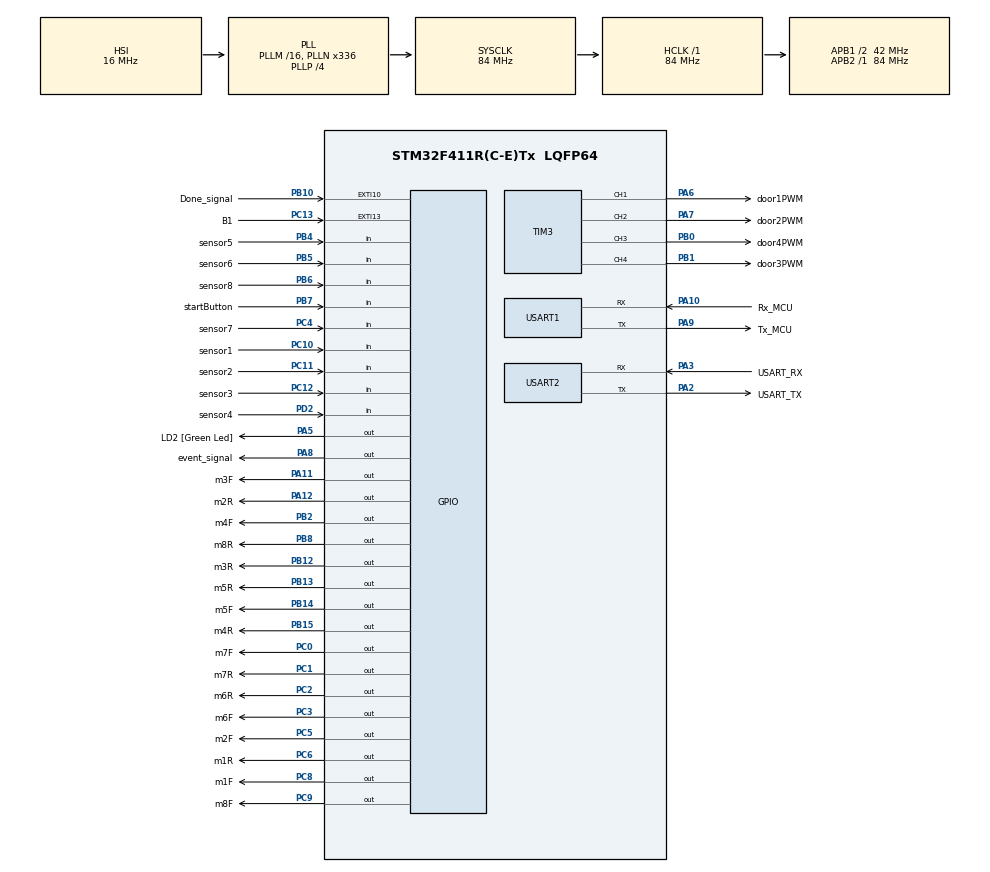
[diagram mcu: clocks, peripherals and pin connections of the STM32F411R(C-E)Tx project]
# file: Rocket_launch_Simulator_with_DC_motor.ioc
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Mcu.Family=STM32F4
Mcu.Name=STM32F411R(C-E)Tx
Mcu.Package=LQFP64
NVIC.EXTI15_10_IRQn=true\:0\:0\:false\:false\:true\:true\:true\:true
NVIC.PriorityGroup=NVIC_PRIORITYGROUP_0
NVIC.USART1_IRQn=true\:0\:0\:false\:false\:true\:true\:true\:true
NVIC.USART2_IRQn=true\:0\:0\:false\:false\:true\:true\:true\:true
PA10.GPIO_Label=Rx_MCU
PA10.Mode=Asynchronous
PA10.Signal=USART1_RX
PA11.GPIO_Label=m3F
PA11.Signal=GPIO_Output
PA12.GPIO_Label=m2R
PA12.Signal=GPIO_Output
PA13.GPIO_Label=TMS
PA13.Mode=Serial_Wire
PA13.Signal=SYS_JTMS-SWDIO
PA14.GPIO_Label=TCK
PA14.Mode=Serial_Wire
PA14.Signal=SYS_JTCK-SWCLK
PA2.GPIO_Label=USART_TX
PA2.Mode=Asynchronous
PA2.Signal=USART2_TX
PA3.GPIO_Label=USART_RX
PA3.Mode=Asynchronous
PA3.Signal=USART2_RX
PA5.GPIO_Label=LD2 [Green Led]
PA5.Signal=GPIO_Output
PA6.GPIO_Label=door1PWM
PA6.Signal=S_TIM3_CH1
PA7.GPIO_Label=door2PWM
PA7.Signal=S_TIM3_CH2
PA8.GPIO_Label=event_signal
PA8.GPIO_PuPd=GPIO_PULLDOWN
PA8.PinState=GPIO_PIN_RESET
PA8.Signal=GPIO_Output
PA9.GPIO_Label=Tx_MCU
PA9.Mode=Asynchronous
PA9.Signal=USART1_TX
PB0.GPIO_Label=door4PWM
PB0.Signal=S_TIM3_CH3
PB1.GPIO_Label=door3PWM
PB1.Signal=S_TIM3_CH4
PB10.GPIO_Label=Done_signal
PB10.GPIO_PuPd=GPIO_PULLDOWN
PB10.Signal=GPXTI10
PB12.GPIO_Label=m3R
PB12.Signal=GPIO_Output
PB13.GPIO_Label=m5R
PB13.Signal=GPIO_Output
PB14.GPIO_Label=m5F
PB14.Signal=GPIO_Output
PB15.GPIO_Label=m4R
PB15.Signal=GPIO_Output
PB2.GPIO_Label=m4F
PB2.Signal=GPIO_Output
PB3.GPIO_Label=SWO
PB3.Signal=SYS_JTDO-SWO
PB4.GPIO_Label=sensor5
PB4.Signal=GPIO_Input
PB5.GPIO_Label=sensor6
PB5.Signal=GPIO_Input
PB6.GPIO_Label=sensor8
PB6.Signal=GPIO_Input
PB7.GPIO_Label=startButton
PB7.GPIO_PuPd=GPIO_PULLDOWN
PB7.Signal=GPIO_Input
PB8.GPIO_Label=m8R
PB8.Signal=GPIO_Output
PC0.GPIO_Label=m7F
PC0.Signal=GPIO_Output
PC1.GPIO_Label=m7R
PC1.Signal=GPIO_Output
PC10.GPIO_Label=sensor1
PC10.Signal=GPIO_Input
PC11.GPIO_Label=sensor2
PC11.Signal=GPIO_Input
PC12.GPIO_Label=sensor3
PC12.Signal=GPIO_Input
PC13-ANTI_TAMP.GPIO_Label=B1
PC13-ANTI_TAMP.GPIO_ModeDefaultEXTI=GPIO_MODE_IT_RISING
PC13-ANTI_TAMP.Signal=GPXTI13
PC14-OSC32_IN.Mode=LSE-External-Oscillator
PC14-OSC32_IN.Signal=RCC_OSC32_IN
PC15-OSC32_OUT.Mode=LSE-External-Oscillator
PC15-OSC32_OUT.Signal=RCC_OSC32_OUT
PC2.GPIO_Label=m6R
PC2.Signal=GPIO_Output
PC3.GPIO_Label=m6F
PC3.Signal=GPIO_Output
PC4.GPIO_Label=sensor7
PC4.GPIO_PuPd=GPIO_NOPULL
PC4.Signal=GPIO_Input
PC5.GPIO_Label=m2F
PC5.Signal=GPIO_Output
PC6.GPIO_Label=m1R
PC6.Signal=GPIO_Output
PC8.GPIO_Label=m1F
PC8.Signal=GPIO_Output
PC9.GPIO_Label=m8F
PC9.Signal=GPIO_Output
PD2.GPIO_Label=sensor4
PD2.Signal=GPIO_Input
PH0\ -\ OSC_IN.Mode=HSE-External-Clock-Source
PH0\ -\ OSC_IN.Signal=RCC_OSC_IN
PH1\ -\ OSC_OUT.Mode=HSE-External-Clock-Source
PH1\ -\ OSC_OUT.Signal=RCC_OSC_OUT
ProjectManager.HeapSize=0x200
ProjectManager.StackSize=0x400
ProjectManager.TargetToolchain=STM32CubeIDE
RCC.48MHZClocksFreq_Value=84000000
RCC.AHBFreq_Value=84000000
RCC.APB1CLKDivider=RCC_HCLK_DIV2
RCC.APB1Freq_Value=42000000
RCC.APB1TimFreq_Value=84000000
RCC.APB2Freq_Value=84000000
RCC.APB2TimFreq_Value=84000000
RCC.CortexFreq_Value=84000000
RCC.FLatency-AdvancedSettings=FLASH_LATENCY_2
RCC.HCLKFreq_Value=84000000
RCC.HSE_VALUE=8000000
RCC.HSI_VALUE=16000000
RCC.PLLN=336
RCC.PLLP=RCC_PLLP_DIV4
RCC.SYSCLKFreq_VALUE=84000000
RCC.SYSCLKSource=RCC_SYSCLKSOURCE_PLLCLK
RCC.VCOOutputFreq_Value=336000000
SH.S_TIM3_CH1.0=TIM3_CH1,PWM Generation1 CH1
SH.S_TIM3_CH2.0=TIM3_CH2,PWM Generation2 CH2
SH.S_TIM3_CH3.0=TIM3_CH3,PWM Generation3 CH3
SH.S_TIM3_CH4.0=TIM3_CH4,PWM Generation4 CH4
TIM3.Channel-PWM\ Generation1\ CH1=TIM_CHANNEL_1
TIM3.Channel-PWM\ Generation2\ CH2=TIM_CHANNEL_2
TIM3.Channel-PWM\ Generation3\ CH3=TIM_CHANNEL_3
TIM3.Channel-PWM\ Generation4\ CH4=TIM_CHANNEL_4
USART1.VirtualMode=VM_ASYNC
USART2.VirtualMode=VM_ASYNC
VP_TIM3_VS_ClockSourceINT.Mode=Internal
board=NUCLEO-F411RE

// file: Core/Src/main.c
/* USER CODE BEGIN Header */
/**
  ******************************************************************************
  * @file           : main.c
  * @brief          : Main program body
  ******************************************************************************
  * @attention
  *
  * Copyright (c) 2026 STMicroelectronics.
  * All rights reserved.
  *
  * This software is licensed under terms that can be found in the LICENSE file
  * in the root directory of this software component.
  * If no LICENSE file comes with this software, it is provided AS-IS.
  *
  ******************************************************************************
  */
/* USER CODE END Header */
#include "main.h"

/* USER CODE BEGIN Includes */
#include "dcmotor.h"
#include "config.h"
#include "helper.h"
/* USER CODE END Includes */

TIM_HandleTypeDef htim3;

UART_HandleTypeDef huart1;
UART_HandleTypeDef huart2;

/* USER CODE BEGIN PV */
//received bytes
uint8_t rx_data;
char rx_buffer[50];
char rx_buffer2[5];
uint8_t rx_index = 0;
uint8_t rxByte;

SystemState current_state = STATE_IDLE;
//Flags
volatile uint8_t emergency_flag = 0;
volatile uint8_t auto_mode = 0;
volatile uint8_t cmd_receive=0;
/* USER CODE END PV */

void SystemClock_Config(void);
static void MX_GPIO_Init(void);
static void MX_USART2_UART_Init(void);
static void MX_TIM3_Init(void);
static void MX_USART1_UART_Init(void);
/* USER CODE BEGIN PFP */
void finish_state(SystemState next_state);
void HAL_GPIO_EXTI_Callback(uint16_t GPIO_Pin);
void HAL_UART_RxCpltCallback(UART_HandleTypeDef *huart);
void process_uart_command(char *cmd);
void homming(void);
/* USER CODE END PFP */

int main(void)
{

  /* MCU Configuration--------------------------------------------------------*/

  /* Reset of all peripherals, Initializes the Flash interface and the Systick. */
  HAL_Init();

  /* Configure the system clock */
  SystemClock_Config();

  /* Initialize all configured peripherals */
  MX_GPIO_Init();
  MX_USART2_UART_Init();
  MX_TIM3_Init();
  MX_USART1_UART_Init();
  /* USER CODE BEGIN 2 */

  HAL_UART_Receive_IT(&huart2, &rx_data, 1);
  HAL_TIM_PWM_Start(&htim3, TIM_CHANNEL_1);
  HAL_TIM_PWM_Start(&htim3, TIM_CHANNEL_2);
  HAL_TIM_PWM_Start(&htim3, TIM_CHANNEL_3);
  HAL_TIM_PWM_Start(&htim3, TIM_CHANNEL_4);
  //homming
  homming();
  /* USER CODE END 2 */

  /* Infinite loop */
  while (1)
  {

    /* USER CODE BEGIN 3 */
	//if(HAL_GPIO_ReadPin(startButton_GPIO_Port, startButton_Pin)== GPIO_PIN_SET){
	  switch(current_state)
	      {
	 	   	   case STATE_IDLE:

	 	   		   break;
	 	   	   case STATE_HOME:

	 	   		   break;

	 	   	   case STATE_DOOR1_OPEN:
	 	   		   send_state_uart("STATE:DOOR1_OPEN");
	 	   		   HAL_GPIO_WritePin(GPIOA,GPIO_PIN_5,GPIO_PIN_SET);
	 	   		   door_Open(Door1,M1,M2,35535);
	 	   		   HAL_GPIO_WritePin(GPIOA,GPIO_PIN_5,GPIO_PIN_RESET);
	 	   		   HAL_Delay(2000);
	 	   		   finish_state(STATE_DOOR2_OPEN);
	 	   		   break;

	 	   	   case STATE_DOOR2_OPEN:
	 	   		   send_state_uart("STATE:DOOR2_OPEN");
	 	   		   HAL_GPIO_WritePin(GPIOA,GPIO_PIN_5,GPIO_PIN_SET);
	 	   		   door_Open(Door2,M3,M4,35535);
	 	   		   HAL_GPIO_WritePin(GPIOA,GPIO_PIN_5,GPIO_PIN_RESET);
	 	   		   HAL_Delay(2000);
	 	   		   finish_state(STATE_DOOR3_OPEN);
	 	   		   break;

	 	   	   case STATE_DOOR3_OPEN:
	 	   		   send_state_uart("STATE:DOOR3_OPEN");
	 	   		   HAL_GPIO_WritePin(GPIOA,GPIO_PIN_5,GPIO_PIN_SET);
	 	   		   door_Open(Door3,M5,M6,35535);
	 	   		   HAL_GPIO_WritePin(GPIOA,GPIO_PIN_5,GPIO_PIN_RESET);
	 	   		   HAL_Delay(2000);
	 	   		   finish_state(STATE_DOOR4_OPEN);
	 	   		   break;

	 	   	   case STATE_DOOR4_OPEN:
	 	   		   send_state_uart("STATE:DOOR4_OPEN");
	 	   		   HAL_GPIO_WritePin(GPIOA,GPIO_PIN_5,GPIO_PIN_SET);
	 	   		   door_Open(Door4,M7,M8,35535);
	 	   		   HAL_GPIO_WritePin(GPIOA,GPIO_PIN_5,GPIO_PIN_RESET);
	 	   		   HAL_Delay(2000);
	 	   		   finish_state(STATE_LAUNCH);
	 	   		   break;

	 	   	   case STATE_LAUNCH:
	 	   		   send_state_uart("LAUNCH");
	 	   		   HAL_GPIO_WritePin(GPIOA,GPIO_PIN_5,GPIO_PIN_SET);
	 	   		   HAL_Delay(1000);
	 	   		   HAL_GPIO_WritePin(GPIOA,GPIO_PIN_5,GPIO_PIN_RESET);
	 	   		   HAL_GPIO_WritePin(event_signal_GPIO_Port,event_signal_Pin,GPIO_PIN_SET);//Launch event signal is start
	 	   		   HAL_Delay(1000);
	 	   		   HAL_GPIO_WritePin(event_signal_GPIO_Port,event_signal_Pin,GPIO_PIN_RESET);
	 	   		   for(;;){
	 	   			if(cmd_receive==1){
	 	   				cmd_receive=0;
	 	   				current_state = STATE_DOOR4_CLOSE;
	 	   				break;
	 	   			}
	 	   			HAL_Delay(1);
	 	   		   }
	 	   		   break;

	 	   	   case STATE_DOOR4_CLOSE:
	 	   		   send_state_uart("STATE:DOOR4_CLOSE");
	 	   		   HAL_GPIO_WritePin(GPIOA,GPIO_PIN_5,GPIO_PIN_SET);
	 	   		   door_Close(Door4,M8,M7,35535);
	 	   		   HAL_GPIO_WritePin(GPIOA,GPIO_PIN_5,GPIO_PIN_RESET);
	 	   		   HAL_Delay(2000);
	 	   		   finish_state(STATE_DOOR3_CLOSE);
	 	   		   break;
	 	   	   case STATE_DOOR3_CLOSE:
	 	   		   send_state_uart("STATE:DOOR3_CLOSE");
	 	   		   HAL_GPIO_WritePin(GPIOA,GPIO_PIN_5,GPIO_PIN_SET);
	 	   		   door_Close(Door3,M6,M5,35535);
	 	   		   HAL_GPIO_WritePin(GPIOA,GPIO_PIN_5,GPIO_PIN_RESET);
	 	   		   HAL_Delay(2000);
	 	   		   finish_state(STATE_DOOR2_CLOSE);
	 	   		   break;

	 	   	   case STATE_DOOR2_CLOSE:
	 	   		   send_state_uart("STATE:DOOR2_CLOSE");
	 	   		   HAL_GPIO_WritePin(GPIOA,GPIO_PIN_5,GPIO_PIN_SET);
	 	   		   door_Close(Door2,M4,M3,35535);
	 	   		   HAL_GPIO_WritePin(GPIOA,GPIO_PIN_5,GPIO_PIN_RESET);
	 	   		   HAL_Delay(2000);
	 	   		   finish_state(STATE_DOOR1_CLOSE);
	 	   		   break;

	 	   	   case STATE_DOOR1_CLOSE:
	 	   		   send_state_uart("STATE:DOOR1_CLOSE");
	 	   		   HAL_GPIO_WritePin(GPIOA,GPIO_PIN_5,GPIO_PIN_SET);
	 	   		   door_Close(Door1,M2,M1,35535);
	 	   		   HAL_GPIO_WritePin(GPIOA,GPIO_PIN_5,GPIO_PIN_RESET);
	 	   		   HAL_Delay(2000);
	 	   		   auto_mode = 0;
	 	   		   current_state = STATE_COMPLETE;
	 	   		   break;

	 	   	   case STATE_COMPLETE:
	 	   		   current_state = STATE_IDLE;
	 	   		   break;
	 	   	   case STATE_EMERGENCY:
	 	   		   break;
	      }
       //}
  }
  /* USER CODE END 3 */
}

void SystemClock_Config(void)
{
  RCC_OscInitTypeDef RCC_OscInitStruct = {0};
  RCC_ClkInitTypeDef RCC_ClkInitStruct = {0};

  /** Configure the main internal regulator output voltage
  */
  __HAL_RCC_PWR_CLK_ENABLE();
  __HAL_PWR_VOLTAGESCALING_CONFIG(PWR_REGULATOR_VOLTAGE_SCALE1);

  /** Initializes the RCC Oscillators according to the specified parameters
  * in the RCC_OscInitTypeDef structure.
  */
  RCC_OscInitStruct.OscillatorType = RCC_OSCILLATORTYPE_HSI;
  RCC_OscInitStruct.HSIState = RCC_HSI_ON;
  RCC_OscInitStruct.HSICalibrationValue = RCC_HSICALIBRATION_DEFAULT;
  RCC_OscInitStruct.PLL.PLLState = RCC_PLL_ON;
  RCC_OscInitStruct.PLL.PLLSource = RCC_PLLSOURCE_HSI;
  RCC_OscInitStruct.PLL.PLLM = 16;
  RCC_OscInitStruct.PLL.PLLN = 336;
  RCC_OscInitStruct.PLL.PLLP = RCC_PLLP_DIV4;
  RCC_OscInitStruct.PLL.PLLQ = 4;
  if (HAL_RCC_OscConfig(&RCC_OscInitStruct) != HAL_OK)
  {
    Error_Handler();
  }

  /** Initializes the CPU, AHB and APB buses clocks
  */
  RCC_ClkInitStruct.ClockType = RCC_CLOCKTYPE_HCLK|RCC_CLOCKTYPE_SYSCLK
                              |RCC_CLOCKTYPE_PCLK1|RCC_CLOCKTYPE_PCLK2;
  RCC_ClkInitStruct.SYSCLKSource = RCC_SYSCLKSOURCE_PLLCLK;
  RCC_ClkInitStruct.AHBCLKDivider = RCC_SYSCLK_DIV1;
  RCC_ClkInitStruct.APB1CLKDivider = RCC_HCLK_DIV2;
  RCC_ClkInitStruct.APB2CLKDivider = RCC_HCLK_DIV1;

  if (HAL_RCC_ClockConfig(&RCC_ClkInitStruct, FLASH_LATENCY_2) != HAL_OK)
  {
    Error_Handler();
  }
}

static void MX_TIM3_Init(void)
{

  TIM_ClockConfigTypeDef sClockSourceConfig = {0};
  TIM_MasterConfigTypeDef sMasterConfig = {0};
  TIM_OC_InitTypeDef sConfigOC = {0};

  htim3.Instance = TIM3;
  htim3.Init.Prescaler = 0;
  htim3.Init.CounterMode = TIM_COUNTERMODE_UP;
  htim3.Init.Period = 65535;
  htim3.Init.ClockDivision = TIM_CLOCKDIVISION_DIV1;
  htim3.Init.AutoReloadPreload = TIM_AUTORELOAD_PRELOAD_DISABLE;
  if (HAL_TIM_Base_Init(&htim3) != HAL_OK)
  {
    Error_Handler();
  }
  sClockSourceConfig.ClockSource = TIM_CLOCKSOURCE_INTERNAL;
  if (HAL_TIM_ConfigClockSource(&htim3, &sClockSourceConfig) != HAL_OK)
  {
    Error_Handler();
  }
  if (HAL_TIM_PWM_Init(&htim3) != HAL_OK)
  {
    Error_Handler();
  }
  sMasterConfig.MasterOutputTrigger = TIM_TRGO_RESET;
  sMasterConfig.MasterSlaveMode = TIM_MASTERSLAVEMODE_DISABLE;
  if (HAL_TIMEx_MasterConfigSynchronization(&htim3, &sMasterConfig) != HAL_OK)
  {
    Error_Handler();
  }
  sConfigOC.OCMode = TIM_OCMODE_PWM1;
  sConfigOC.Pulse = 0;
  sConfigOC.OCPolarity = TIM_OCPOLARITY_HIGH;
  sConfigOC.OCFastMode = TIM_OCFAST_DISABLE;
  if (HAL_TIM_PWM_ConfigChannel(&htim3, &sConfigOC, TIM_CHANNEL_1) != HAL_OK)
  {
    Error_Handler();
  }
  if (HAL_TIM_PWM_ConfigChannel(&htim3, &sConfigOC, TIM_CHANNEL_2) != HAL_OK)
  {
    Error_Handler();
  }
  if (HAL_TIM_PWM_ConfigChannel(&htim3, &sConfigOC, TIM_CHANNEL_3) != HAL_OK)
  {
    Error_Handler();
  }
  if (HAL_TIM_PWM_ConfigChannel(&htim3, &sConfigOC, TIM_CHANNEL_4) != HAL_OK)
  {
    Error_Handler();
  }
  HAL_TIM_MspPostInit(&htim3);

}

static void MX_USART1_UART_Init(void)
{

  huart1.Instance = USART1;
  huart1.Init.BaudRate = 115200;
  huart1.Init.WordLength = UART_WORDLENGTH_8B;
  huart1.Init.StopBits = UART_STOPBITS_1;
  huart1.Init.Parity = UART_PARITY_NONE;
  huart1.Init.Mode = UART_MODE_TX_RX;
  huart1.Init.HwFlowCtl = UART_HWCONTROL_NONE;
  huart1.Init.OverSampling = UART_OVERSAMPLING_16;
  if (HAL_UART_Init(&huart1) != HAL_OK)
  {
    Error_Handler();
  }

}

static void MX_USART2_UART_Init(void)
{

  huart2.Instance = USART2;
  huart2.Init.BaudRate = 115200;
  huart2.Init.WordLength = UART_WORDLENGTH_8B;
  huart2.Init.StopBits = UART_STOPBITS_1;
  huart2.Init.Parity = UART_PARITY_NONE;
  huart2.Init.Mode = UART_MODE_TX_RX;
  huart2.Init.HwFlowCtl = UART_HWCONTROL_NONE;
  huart2.Init.OverSampling = UART_OVERSAMPLING_16;
  if (HAL_UART_Init(&huart2) != HAL_OK)
  {
    Error_Handler();
  }

}

static void MX_GPIO_Init(void)
{
  GPIO_InitTypeDef GPIO_InitStruct = {0};

  /* GPIO Ports Clock Enable */
  __HAL_RCC_GPIOC_CLK_ENABLE();
  __HAL_RCC_GPIOH_CLK_ENABLE();
  __HAL_RCC_GPIOA_CLK_ENABLE();
  __HAL_RCC_GPIOB_CLK_ENABLE();
  __HAL_RCC_GPIOD_CLK_ENABLE();

  /*Configure GPIO pin Output Level */
  HAL_GPIO_WritePin(GPIOC, m7F_Pin|m7R_Pin|m6R_Pin|m6F_Pin
                          |m2F_Pin|m1R_Pin|m1F_Pin|m8F_Pin, GPIO_PIN_RESET);

  /*Configure GPIO pin Output Level */
  HAL_GPIO_WritePin(GPIOA, LD2_Pin|event_signal_Pin|m3F_Pin|m2R_Pin, GPIO_PIN_RESET);

  /*Configure GPIO pin Output Level */
  HAL_GPIO_WritePin(GPIOB, m4F_Pin|m3R_Pin|m5R_Pin|m5F_Pin
                          |m4R_Pin|m8R_Pin, GPIO_PIN_RESET);

  /*Configure GPIO pin : B1_Pin */
  GPIO_InitStruct.Pin = B1_Pin;
  GPIO_InitStruct.Mode = GPIO_MODE_IT_RISING;
  GPIO_InitStruct.Pull = GPIO_NOPULL;
  HAL_GPIO_Init(B1_GPIO_Port, &GPIO_InitStruct);

  /*Configure GPIO pins : m7F_Pin m7R_Pin m6R_Pin m6F_Pin
                           m2F_Pin m1R_Pin m1F_Pin m8F_Pin */
  GPIO_InitStruct.Pin = m7F_Pin|m7R_Pin|m6R_Pin|m6F_Pin
                          |m2F_Pin|m1R_Pin|m1F_Pin|m8F_Pin;
  GPIO_InitStruct.Mode = GPIO_MODE_OUTPUT_PP;
  GPIO_InitStruct.Pull = GPIO_NOPULL;
  GPIO_InitStruct.Speed = GPIO_SPEED_FREQ_LOW;
  HAL_GPIO_Init(GPIOC, &GPIO_InitStruct);

  /*Configure GPIO pins : LD2_Pin m3F_Pin m2R_Pin */
  GPIO_InitStruct.Pin = LD2_Pin|m3F_Pin|m2R_Pin;
  GPIO_InitStruct.Mode = GPIO_MODE_OUTPUT_PP;
  GPIO_InitStruct.Pull = GPIO_NOPULL;
  GPIO_InitStruct.Speed = GPIO_SPEED_FREQ_LOW;
  HAL_GPIO_Init(GPIOA, &GPIO_InitStruct);

  /*Configure GPIO pins : sensor7_Pin sensor1_Pin sensor2_Pin sensor3_Pin */
  GPIO_InitStruct.Pin = sensor7_Pin|sensor1_Pin|sensor2_Pin|sensor3_Pin;
  GPIO_InitStruct.Mode = GPIO_MODE_INPUT;
  GPIO_InitStruct.Pull = GPIO_NOPULL;
  HAL_GPIO_Init(GPIOC, &GPIO_InitStruct);

  /*Configure GPIO pins : m4F_Pin m3R_Pin m5R_Pin m5F_Pin
                           m4R_Pin m8R_Pin */
  GPIO_InitStruct.Pin = m4F_Pin|m3R_Pin|m5R_Pin|m5F_Pin
                          |m4R_Pin|m8R_Pin;
  GPIO_InitStruct.Mode = GPIO_MODE_OUTPUT_PP;
  GPIO_InitStruct.Pull = GPIO_NOPULL;
  GPIO_InitStruct.Speed = GPIO_SPEED_FREQ_LOW;
  HAL_GPIO_Init(GPIOB, &GPIO_InitStruct);

  /*Configure GPIO pin : Done_signal_Pin */
  GPIO_InitStruct.Pin = Done_signal_Pin;
  GPIO_InitStruct.Mode = GPIO_MODE_IT_RISING;
  GPIO_InitStruct.Pull = GPIO_PULLDOWN;
  HAL_GPIO_Init(Done_signal_GPIO_Port, &GPIO_InitStruct);

  /*Configure GPIO pin : event_signal_Pin */
  GPIO_InitStruct.Pin = event_signal_Pin;
  GPIO_InitStruct.Mode = GPIO_MODE_OUTPUT_PP;
  GPIO_InitStruct.Pull = GPIO_PULLDOWN;
  GPIO_InitStruct.Speed = GPIO_SPEED_FREQ_LOW;
  HAL_GPIO_Init(event_signal_GPIO_Port, &GPIO_InitStruct);

  /*Configure GPIO pin : sensor4_Pin */
  GPIO_InitStruct.Pin = sensor4_Pin;
  GPIO_InitStruct.Mode = GPIO_MODE_INPUT;
  GPIO_InitStruct.Pull = GPIO_NOPULL;
  HAL_GPIO_Init(sensor4_GPIO_Port, &GPIO_InitStruct);

  /*Configure GPIO pins : sensor5_Pin sensor6_Pin sensor8_Pin */
  GPIO_InitStruct.Pin = sensor5_Pin|sensor6_Pin|sensor8_Pin;
  GPIO_InitStruct.Mode = GPIO_MODE_INPUT;
  GPIO_InitStruct.Pull = GPIO_NOPULL;
  HAL_GPIO_Init(GPIOB, &GPIO_InitStruct);

  /*Configure GPIO pin : startButton_Pin */
  GPIO_InitStruct.Pin = startButton_Pin;
  GPIO_InitStruct.Mode = GPIO_MODE_INPUT;
  GPIO_InitStruct.Pull = GPIO_PULLDOWN;
  HAL_GPIO_Init(startButton_GPIO_Port, &GPIO_InitStruct);

  /* EXTI interrupt init*/
  HAL_NVIC_SetPriority(EXTI15_10_IRQn, 0, 0);
  HAL_NVIC_EnableIRQ(EXTI15_10_IRQn);

}

/* USER CODE BEGIN 4 */
//next_state
void finish_state(SystemState next_state)
{
    if(auto_mode)
        current_state = next_state;
    else
        current_state = STATE_IDLE;
}

//uart_command handling
void process_uart_command(char *cmd)
{

    if(strcmp(cmd, "DOOR1_OPEN") == 0)
    {
    	auto_mode = 0;
        current_state = STATE_DOOR1_OPEN;
    }
    else if(strcmp(cmd, "START") == 0)
        {
    		if(current_state == STATE_IDLE ||
    		           current_state == STATE_EMERGENCY)
    		        {
    		            emergency_flag = 0;
    		            auto_mode = 1;
    		            current_state = STATE_DOOR1_OPEN;
    		        }
        }
    else if(strcmp(cmd, "HOME") == 0)
            {
    			auto_mode = 0;
    	        current_state = STATE_HOME;
            }
    else if(strcmp(cmd, "DOOR1_CLOSE") == 0)
    {
    	auto_mode = 0;
        current_state = STATE_DOOR1_CLOSE;
    }

    else if(strcmp(cmd, "DOOR2_OPEN") == 0)
    {
    	auto_mode = 0;
        current_state = STATE_DOOR2_OPEN;
    }

    else if(strcmp(cmd, "DOOR2_CLOSE") == 0)
    {
    	auto_mode = 0;
        current_state = STATE_DOOR2_CLOSE;
    }

    else if(strcmp(cmd, "DOOR3_OPEN") == 0)
    {
    	auto_mode = 0;
        current_state = STATE_DOOR3_OPEN;
    }

    else if(strcmp(cmd, "DOOR3_CLOSE") == 0)
    {
    	auto_mode = 0;
        current_state = STATE_DOOR3_CLOSE;
    }

    else if(strcmp(cmd, "LAUNCH") == 0)
    {
    	auto_mode = 0;
        current_state = STATE_LAUNCH;
    }

    else if(strcmp(cmd, "EMERGENCY") == 0)
    {
    	auto_mode = 0;
    	emergency_flag = 1;
    }
    else if(strcmp(cmd, "RESET") == 0)
    {
    	auto_mode = 0;
        emergency_flag = 0;
        current_state = STATE_IDLE;
    }
}

void homming(void){
	HAL_GPIO_WritePin(GPIOA,GPIO_PIN_5,GPIO_PIN_SET);
	door_Close(Door4,M8,M7,35535);
	door_Close(Door3,M6,M5,35535);
	door_Close(Door2,M4,M3,35535);
	door_Close(Door1,M2,M1,35535);
	HAL_GPIO_WritePin(GPIOA,GPIO_PIN_5,GPIO_PIN_RESET);
}
//UART call back
void HAL_UART_RxCpltCallback(UART_HandleTypeDef *huart)
{
    if (huart->Instance == USART2)
    {

        if(rx_data == '\n')
        {
            rx_buffer[rx_index] = '\0';
            rx_buffer[strcspn(rx_buffer, "\r")] = 0;
            process_uart_command(rx_buffer);

            rx_index = 0;
        }
        else
        {
            rx_buffer[rx_index++] = rx_data;

            // overflow protection
            if(rx_index >= sizeof(rx_buffer)-1)
            {
                rx_index = 0;
            }
        }
        HAL_UART_Receive_IT(&huart2, &rx_data, 1);
    }
}

//GPIO callback
void HAL_GPIO_EXTI_Callback(uint16_t GPIO_Pin)
{
    if(GPIO_Pin == B1_Pin)
    {
    	if(current_state == STATE_IDLE ||current_state == STATE_EMERGENCY)
    	  {
    	   emergency_flag = 0;
    	   auto_mode = 1;
    	   current_state = STATE_DOOR1_OPEN;
    	  }
    }
    if(GPIO_Pin == Done_signal_Pin)
        {
        	if(current_state == STATE_LAUNCH)
        	  {
        		cmd_receive = 1;
        	  }
        }

}

/* USER CODE END 4 */

void Error_Handler(void)
{
  __disable_irq();
  while (1)
  {
  }
}
